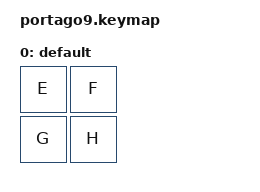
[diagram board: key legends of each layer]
#include <behaviors.dtsi>
#include <dt-bindings/zmk/keys.h>

/ {
    keymap {
        compatible = "zmk,keymap";

        default_layer {
            display-name = "default";
            // -------------------------------------
            // |     A     |     B     |
            // |     C     |     D     |
            bindings = <
                &kp E    &kp F
                &kp G    &kp H
            >;
        };
    };
 };
